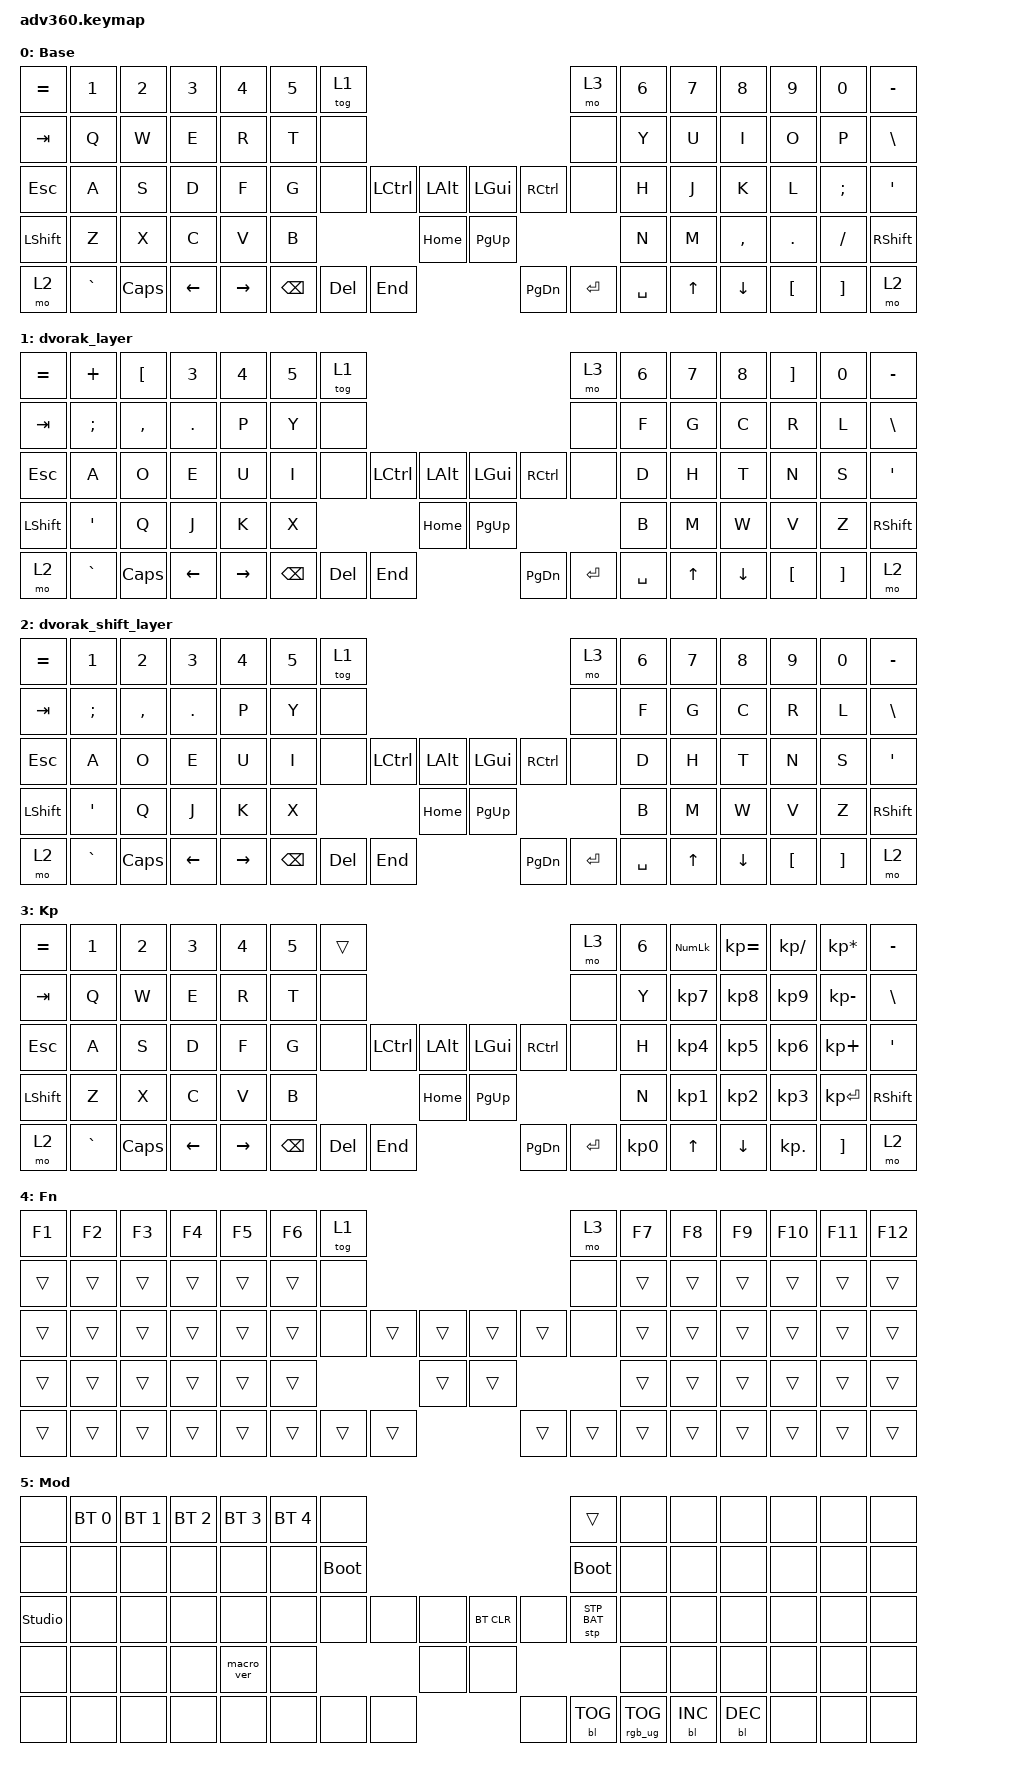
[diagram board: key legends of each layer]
#include <behaviors.dtsi>
#include <dt-bindings/zmk/keys.h>
#include <dt-bindings/zmk/bt.h>
#include <dt-bindings/zmk/rgb.h>
#include <dt-bindings/zmk/stp.h>
#include <dt-bindings/zmk/backlight.h>
#include <dt-bindings/zmk/pointing.h>

/ {
    behaviors {
      #include "macros.dtsi"
      #include "version.dtsi"

      hm: homerow_mods {
          compatible = "zmk,behavior-hold-tap";
          label = "HOMEROW_MODS";
          #binding-cells = <2>;
          tapping-term-ms = <200>;
          quick_tap_ms = <175>;
          flavor = "tap-preferred";
          bindings = <&kp>, <&kp>;
      };
    };

  keymap {
    compatible = "zmk,keymap";

    default_layer {
      display-name = "Base";
      bindings = <
        &kp EQUAL &kp N1    &kp N2   &kp N3   &kp N4     &kp N5 &tog 1                                                           &mo 3 &kp N6 &kp N7 &kp N8    &kp N9   &kp N0   &kp MINUS
        &kp TAB   &kp Q     &kp W    &kp E    &kp R      &kp T  &none                                                            &none &kp Y  &kp U  &kp I     &kp O    &kp P    &kp BSLH
        &kp ESC   &kp A     &kp S    &kp D    &kp F      &kp G  &none           &kp LCTRL &kp LALT &kp LGUI  &kp RCTRL           &none &kp H  &kp J  &kp K     &kp L    &kp SEMI &kp SQT
        &kp LSHFT &kp Z     &kp X    &kp C    &kp V      &kp B                            &kp HOME &kp PG_UP                           &kp N  &kp M  &kp COMMA &kp DOT  &kp FSLH &kp RSHFT
        &mo 2     &kp GRAVE &kp CAPS &kp LEFT &kp RIGHT                &kp BSPC &kp DEL   &kp END  &kp PG_DN &kp ENTER &kp SPACE              &kp UP &kp DOWN  &kp LBKT &kp RBKT &mo 2
      >;
    };
    dvorak_layer {
      bindings = <
        &kp EQUAL &kp PLUS    &kp LBKT   &kp N3   &kp N4     &kp N5 &tog 1                                                           &mo 3 &kp N6 &kp N7 &kp N8    &kp RBKT   &kp N0   &kp MINUS
        &kp TAB   &kp SEMI     &kp COMMA    &kp DOT    &kp P      &kp Y  &none                                                            &none &kp F  &kp G  &kp C     &kp R    &kp L    &kp BSLH
        &kp ESC   &kp A     &kp O    &kp E    &kp U      &kp I  &none           &kp LCTRL &kp LALT &kp LGUI  &kp RCTRL           &none &kp D  &kp H  &kp T     &kp N    &kp S &kp SQT
        &kp LSHFT &kp SQT     &kp Q    &kp J    &kp K      &kp X                            &kp HOME &kp PG_UP                           &kp B  &kp M  &kp W &kp V  &kp Z &kp RSHFT
        &mo 2     &kp GRAVE &kp CAPS &kp LEFT &kp RIGHT                &kp BSPC &kp DEL   &kp END  &kp PG_DN &kp ENTER &kp SPACE              &kp UP &kp DOWN  &kp LBKT &kp RBKT &mo 2
      >;
    };
    dvorak_shift_layer {
      bindings = <
        &kp EQUAL &kp N1    &kp N2   &kp N3   &kp N4     &kp N5 &tog 1                                                           &mo 3 &kp N6 &kp N7 &kp N8    &kp N9   &kp N0   &kp MINUS
        &kp TAB   &kp SEMI     &kp COMMA    &kp DOT    &kp P      &kp Y  &none                                                            &none &kp F  &kp G  &kp C     &kp R    &kp L    &kp BSLH
        &kp ESC   &kp A     &kp O    &kp E    &kp U      &kp I  &none           &kp LCTRL &kp LALT &kp LGUI  &kp RCTRL           &none &kp D  &kp H  &kp T     &kp N    &kp S &kp SQT
        &kp LSHFT &kp SQT     &kp Q    &kp J    &kp K      &kp X                            &kp HOME &kp PG_UP                           &kp B  &kp M  &kp W &kp V  &kp Z &kp RSHFT
        &mo 2     &kp GRAVE &kp CAPS &kp LEFT &kp RIGHT                &kp BSPC &kp DEL   &kp END  &kp PG_DN &kp ENTER &kp SPACE              &kp UP &kp DOWN  &kp LBKT &kp RBKT &mo 2
      >;
    };
    keypad {
      display-name = "Kp";
      bindings = <
        &kp EQUAL &kp N1    &kp N2   &kp N3   &kp N4     &kp N5 &trans                                                           &mo 3 &kp N6 &kp KP_NUM &kp KP_EQUAL &kp KP_DIVIDE &kp KP_MULTIPLY &kp MINUS
        &kp TAB   &kp Q     &kp W    &kp E    &kp R      &kp T  &none                                                            &none &kp Y  &kp KP_N7  &kp KP_N8    &kp KP_N9     &kp KP_MINUS    &kp BSLH
        &kp ESC   &kp A     &kp S    &kp D    &kp F      &kp G  &none           &kp LCTRL &kp LALT &kp LGUI  &kp RCTRL           &none &kp H  &kp KP_N4  &kp KP_N5    &kp KP_N6     &kp KP_PLUS     &kp SQT
        &kp LSHFT &kp Z     &kp X    &kp C    &kp V      &kp B                            &kp HOME &kp PG_UP                           &kp N  &kp KP_N1  &kp KP_N2    &kp KP_N3     &kp KP_ENTER    &kp RSHFT
        &mo 2     &kp GRAVE &kp CAPS &kp LEFT &kp RIGHT                &kp BSPC &kp DEL   &kp END  &kp PG_DN &kp ENTER &kp KP_N0              &kp UP     &kp DOWN     &kp KP_DOT    &kp RBKT        &mo 2
      >;
    };
    fn {
      display-name = "Fn";
      bindings = <
        &kp F1 &kp F2 &kp F3 &kp F4 &kp F5 &kp F6 &tog 1                                           &mo 3 &kp F7 &kp F8 &kp F9 &kp F10 &kp F11 &kp F12
        &trans &trans &trans &trans &trans &trans  &none                                           &none &trans &trans &trans &trans  &trans  &trans
        &trans &trans &trans &trans &trans &trans  &none        &trans &trans &trans &trans        &none &trans &trans &trans &trans  &trans  &trans
        &trans &trans &trans &trans &trans &trans                      &trans &trans                     &trans &trans &trans &trans  &trans  &trans
        &trans &trans &trans &trans &trans               &trans &trans &trans &trans &trans &trans              &trans &trans &trans  &trans  &trans
      >;
    };
    mod {
      display-name = "Mod";
      bindings = <
        &none &bt BT_SEL 0 &bt BT_SEL 1 &bt BT_SEL 2 &bt BT_SEL 3 &bt BT_SEL 4 &none                                                                     &trans                 &none        &none        &none        &none &none &none
        &none &none        &none        &none        &none        &none        &bootloader                                                               &bootloader            &none        &none        &none        &none &none &none
        &studio_unlock &none        &none        &none        &none        &none        &none                   &none &none &bt BT_CLR &none                      &stp STP_BAT &none        &none        &none        &none &none &none
        &none &none        &none        &none        &macro_ver   &none                                      &none &none                                                        &none        &none        &none        &none &none &none
        &none &none        &none        &none        &none                                       &none &none &none &none      &bl BL_TOG &rgb_ug RGB_TOG                                     &bl BL_INC   &bl BL_DEC   &none &none &none
      >;
    };
    extra1 { 
      display-name = "Red";    
      status = "reserved";
    };

    extra2 { 
      display-name = "Purple";    
      status = "reserved";
    };

    extra3 { 
      display-name = "Cyan";    
      status = "reserved";
    };

    extra4 { 
      display-name = "Yellow";    
      status = "reserved";
    };
  };
};
